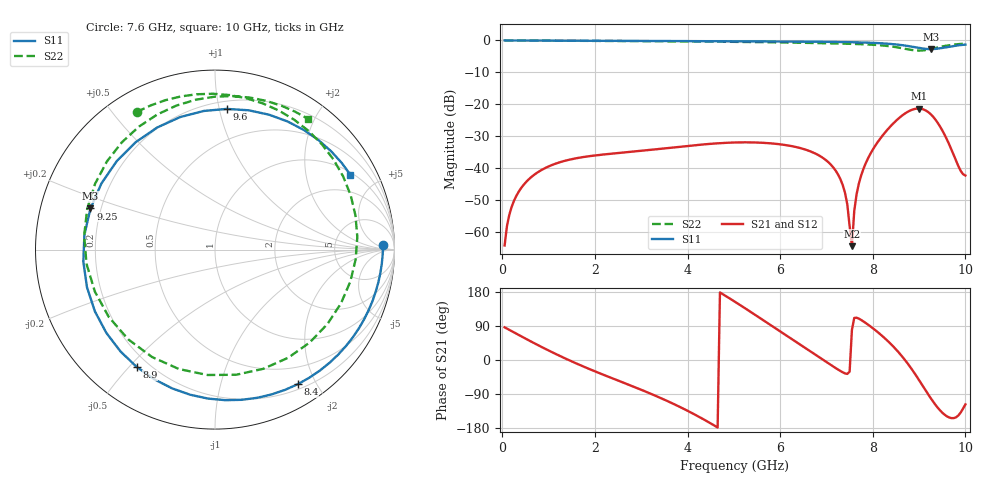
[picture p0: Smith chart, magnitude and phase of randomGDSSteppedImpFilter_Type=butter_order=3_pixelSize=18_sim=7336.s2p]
! freq	dB(S11)	phase(S11)	dB(S12)	phase(S12)
!  dB(S21)	phase(S21)	dB(S22)	phase(S22)
!S-par simulation data
#  GHz  S  DB  R 50
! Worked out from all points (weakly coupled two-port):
!   200 points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, 50 MHz to 10 GHz, reference 50 ohm
!   highest |S21| = -21.35 dB at 9 GHz (marker M1); lowest = -64.5 dB at 7.55 GHz (marker M2)
!   lowest |S11| = -2.7 dB at 9.25 GHz (marker M3), VSWR 6.43, Z = 7.97 + j7.85 ohm
!   |S11| at or under -10 dB: nowhere
!   |S22| runs from -3.2 to 0.0 dB; largest |S21 - S12| = 0
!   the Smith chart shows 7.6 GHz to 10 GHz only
!   S11 on the Smith chart (normalised r, x): 7.6 GHz: 27, +10; 8.4 GHz: 0.26, -1.76; 8.9 GHz: 0.15, -0.53; 9.25 GHz: 0.16, +0.16; 9.6 GHz: 0.26, +1.05; 10 GHz: 1.09, +3.55
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0.05  -0.00 -2.9  -64.29 86.2  -64.29 86.2  -0.00 -3.9
0.2  -0.01 -11.5  -52.27 76.4  -52.27 76.4  -0.02 -15.5
0.5  -0.04 -28.5  -44.60 56.5  -44.60 56.5  -0.05 -38.4
1.1  -0.08 -61.3  -38.90 19.1  -38.90 19.1  -0.10 -82.3
1.75  -0.11 -94.1  -36.56 -17.1  -36.56 -17.1  -0.14 -126.3
2.6  -0.14 -132.9  -35.16 -59.1  -35.16 -59.1  -0.19 179.6
3.4  -0.17 -166.4  -34.00 -99.2  -34.00 -99.2  -0.24 127.5
4.2  -0.21 161.2  -32.79 -146.8  -32.79 -146.8  -0.32 69.4
5.05  -0.26 126.2  -31.98 151.7  -31.98 151.7  -0.44 -0.8
5.9  -0.32 89.0  -32.40 83.6  -32.40 83.6  -0.60 -76.1
6.7  -0.39 50.8  -35.06 18.8  -35.06 18.8  -0.79 -149.3
7.3  -0.49 19.0  -43.46 -29.0  -43.46 -29.0  -0.97 151.8
7.55  -0.55 4.5  -64.50 79.7  -64.50 79.7  -1.07 125.2
7.6  -0.57 1.4  -53.47 111.0  -53.47 111.0  -1.09 119.6
7.85  -0.67 -14.6  -38.44 97.5  -38.44 97.5  -1.23 90.6
8.35  -1.05 -53.6  -27.43 47.1  -27.43 47.1  -1.79 21.8
8.4  -1.11 -58.4  -26.65 41.0  -26.65 41.0  -1.88 13.6
8.9  -2.09 -123.7  -21.50 -34.6  -21.50 -34.6  -3.10 -93.4
9  -2.35 -142.5  -21.35 -53.1  -21.35 -53.1  -3.18 -120.4
9.25  -2.72 161.7  -23.10 -100.5  -23.10 -100.5  -2.70 174.0
9.6  -2.08 85.2  -31.02 -148.6  -31.02 -148.6  -1.61 105.0
10  -1.29 29.0  -42.34 -117.2  -42.34 -117.2  -0.98 54.7
